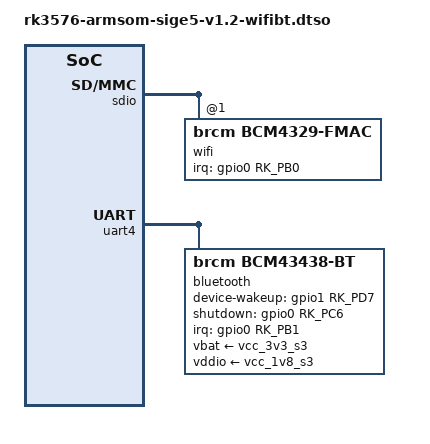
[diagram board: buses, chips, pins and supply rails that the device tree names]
// SPDX-License-Identifier: (GPL-2.0+ OR MIT)
/*
 * DT-overlay to enable the onboard WiFi and Bluetooth module present in v1.2
 * boards. Note that v1.1 boards use a different module, so this probably won't
 * work there.
 */

/dts-v1/;
/plugin/;

#include <dt-bindings/gpio/gpio.h>
#include <dt-bindings/interrupt-controller/irq.h>
#include <dt-bindings/pinctrl/rockchip.h>

&sdio {
	#address-cells = <1>;
	#size-cells = <0>;

	wifi@1 {
		compatible = "brcm,bcm4329-fmac";
		reg = <1>;
		clock-names = "lpo";
		clocks = <&hym8563>;
		interrupt-names = "host-wake";
		interrupt-parent = <&gpio0>;
		interrupts = <RK_PB0 IRQ_TYPE_LEVEL_HIGH>;
		pinctrl-0 = <&wifi_wake_host>;
		pinctrl-names = "default";
	};
};

&uart4 {
	status = "okay";

	bluetooth {
		compatible = "brcm,bcm43438-bt";
		clock-names = "lpo";
		clocks = <&hym8563>;
		device-wakeup-gpios = <&gpio1 RK_PD7 GPIO_ACTIVE_HIGH>;
		interrupt-names = "host-wakeup";
		interrupt-parent = <&gpio0>;
		interrupts = <RK_PB1 IRQ_TYPE_LEVEL_HIGH>;
		pinctrl-0 = <&bt_reg_on>, <&bt_wake_host>, <&host_wake_bt>;
		pinctrl-names = "default";
		shutdown-gpios = <&gpio0 RK_PC6 GPIO_ACTIVE_HIGH>;
		vbat-supply = <&vcc_3v3_s3>;
		vddio-supply = <&vcc_1v8_s3>;
	};
};
